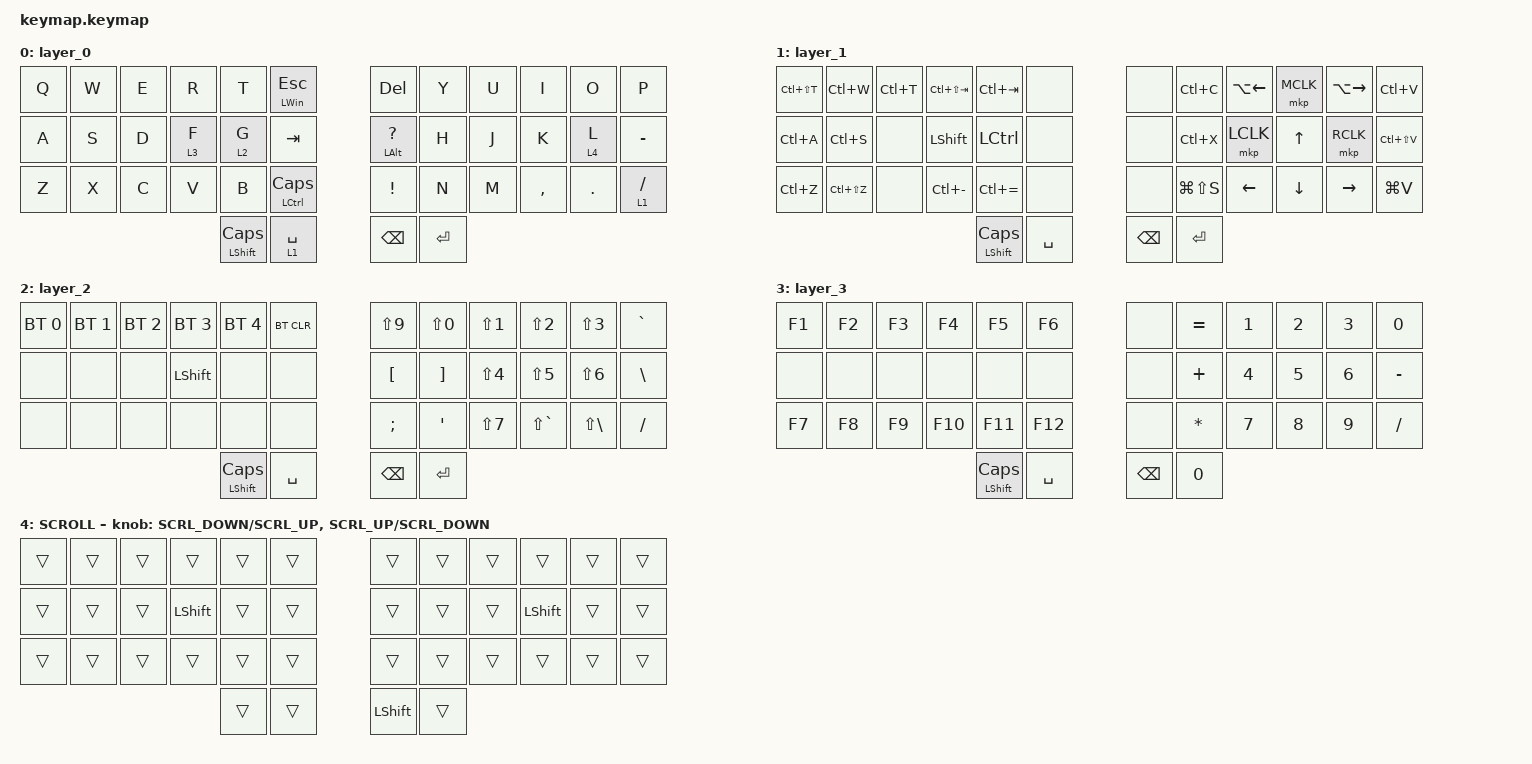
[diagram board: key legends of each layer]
#include <behaviors.dtsi>
#include <dt-bindings/zmk/bt.h>
#include <dt-bindings/zmk/keys.h>
#include <dt-bindings/zmk/pointing.h>

/ {
    behaviors {
        mouse_scrl: mouse_wheel_scrl {
            compatible = "zmk,behavior-sensor-rotate-var";
            #sensor-binding-cells = <2>;
            bindings = <&msc>, <&msc>;

            tap-ms = <10>;
        };
    };

    keymap {
        compatible = "zmk,keymap";

        layer_0 {
            bindings = <
&kp Q  &kp W  &kp E  &kp R                    &kp T        &mt LEFT_WIN ESCAPE  &kp DELETE             &kp Y  &kp U  &kp I      &kp O       &kp P
&kp A  &kp S  &kp D  &lt 3 F                  &lt 2 G      &kp TAB              &mt LEFT_ALT QUESTION  &kp H  &kp J  &kp K      &lt 4 L     &kp MINUS
&kp Z  &kp X  &kp C  &kp V                    &kp B        &mt LCTRL CAPSLOCK   &kp EXCLAMATION        &kp N  &kp M  &kp COMMA  &kp PERIOD  &lt 1 SLASH
                     &mt LEFT_SHIFT CAPSLOCK  &lt 1 SPACE  &kp BACKSPACE        &kp ENTER
            >;
        };

        layer_1 {
            bindings = <
&kp LC(LS(T))  &kp LC(W)      &kp LC(T)  &kp LC(LS(TAB))          &kp LC(TAB)    &none          &none      &kp LC(C)      &kp LA(LEFT)  &mkp MCLK  &kp LA(RIGHT)  &kp LC(V)
&kp LC(A)      &kp LC(S)      &none      &kp LEFT_SHIFT           &kp LCTRL      &none          &none      &kp LC(X)      &mkp LCLK     &kp UP     &mkp RCLK      &kp LC(LS(V))
&kp LC(Z)      &kp LC(LS(Z))  &none      &kp LC(MINUS)            &kp LC(EQUAL)  &none          &none      &kp LG(LS(S))  &kp LEFT      &kp DOWN   &kp RIGHT      &kp LG(V)
                                         &mt LEFT_SHIFT CAPSLOCK  &kp SPACE      &kp BACKSPACE  &kp ENTER
            >;
        };

        layer_2 {
            bindings = <
&bt BT_SEL 0  &bt BT_SEL 1  &bt BT_SEL 2  &bt BT_SEL 3             &bt BT_SEL 4  &bt BT_CLR     &kp LS(N9)        &kp LS(N0)         &kp LS(NUMBER_1)  &kp LS(NUMBER_2)  &kp LS(NUMBER_3)   &kp GRAVE
&none         &none         &none         &kp LEFT_SHIFT           &none         &none          &kp LEFT_BRACKET  &kp RIGHT_BRACKET  &kp LS(NUMBER_4)  &kp LS(NUMBER_5)  &kp LS(NUMBER_6)   &kp BACKSLASH
&none         &none         &none         &none                    &none         &none          &kp SEMICOLON     &kp SQT            &kp LS(NUMBER_7)  &kp LS(GRAVE)     &kp LS(BACKSLASH)  &kp SLASH
                                          &mt LEFT_SHIFT CAPSLOCK  &kp SPACE     &kp BACKSPACE  &kp ENTER
            >;
        };

        layer_3 {
            bindings = <
&kp F1  &kp F2  &kp F3  &kp F4                   &kp F5     &kp F6         &none         &kp EQUAL     &kp NUMBER_1  &kp NUMBER_2  &kp NUMBER_3  &kp NUMBER_0
&none   &none   &none   &none                    &none      &none          &none         &kp PLUS      &kp NUMBER_4  &kp NUMBER_5  &kp NUMBER_6  &kp MINUS
&kp F7  &kp F8  &kp F9  &kp F10                  &kp F11    &kp F12        &none         &kp ASTERISK  &kp NUMBER_7  &kp NUMBER_8  &kp NUMBER_9  &kp SLASH
                        &mt LEFT_SHIFT CAPSLOCK  &kp SPACE  &kp BACKSPACE  &kp NUMBER_0
            >;
        };

        SCROLL {
            bindings = <
&trans  &trans  &trans  &trans          &trans  &trans          &trans  &trans  &trans  &trans          &trans  &trans
&trans  &trans  &trans  &kp LEFT_SHIFT  &trans  &trans          &trans  &trans  &trans  &kp LEFT_SHIFT  &trans  &trans
&trans  &trans  &trans  &trans          &trans  &trans          &trans  &trans  &trans  &trans          &trans  &trans
                        &trans          &trans  &kp LEFT_SHIFT  &trans
            >;

            sensor-bindings =
                <&mouse_scrl SCRL_DOWN SCRL_UP>,
                <&mouse_scrl SCRL_UP SCRL_DOWN>;
        };
    };
};
